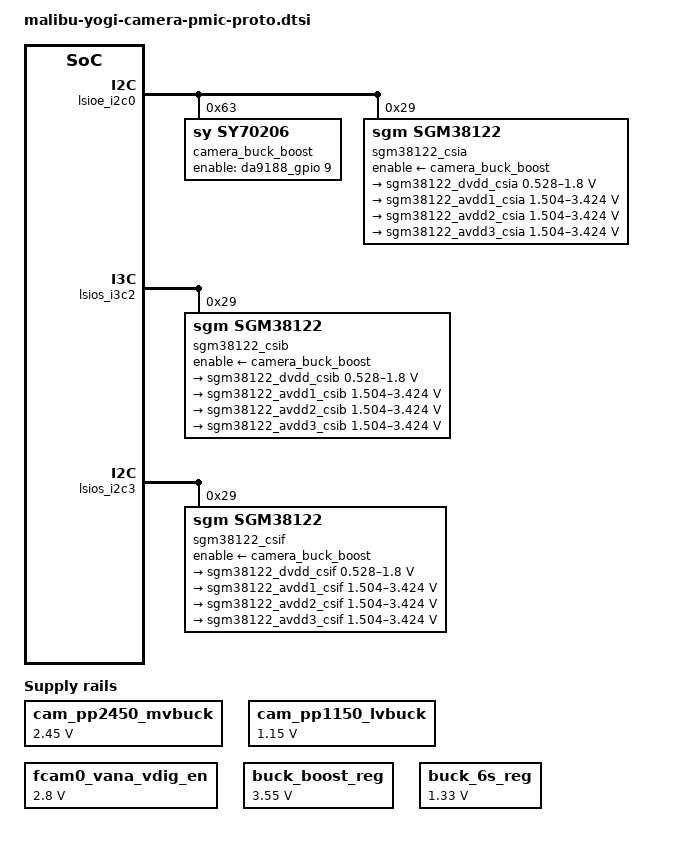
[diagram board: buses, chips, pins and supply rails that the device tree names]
// SPDX-License-Identifier: GPL-2.0-only
/*
 * camera PMIC device tree for MBU device
 *
 * Copyright 2025 Google LLC.
 *
 */

&ldo_22s_reg {
	/* b/418913720 - go/regulator-circular-dep */
	/* Workaround to avoid I2C issue when controller resume and suspend
	   outside of camera usage. */
	regulator-always-on;
};

/ {
	fragment@cam_supply {
		target-path = "/";
		__overlay__ {
			/* SN62088AYFPR */
			cam_pp2450_mvbuck: rcam_supply@0 {
				compatible = "regulator-fixed";
				status = "okay";
				regulator-name = "PP2450_CAM";
				regulator-min-microvolt = <2450000>;
				regulator-max-microvolt = <2450000>;
				/* 1.25ms */
				regulator-enable-ramp-delay = <1250>;
				enable-active-high;
				/* MVBUCK_EN */
				gpio = <PMICS2CAM_MVBUCK_EN(GPIO_ACTIVE_HIGH)>;
			};

			/* MAX77324GEWTAD+T */
			cam_pp1150_lvbuck: rcam_supply@1 {
				compatible = "regulator-fixed";
				status = "okay";
				regulator-name = "PP1150_CAM";
				regulator-min-microvolt = <1150000>;
				regulator-max-microvolt = <1150000>;
				/* 1ms */
				regulator-enable-ramp-delay = <1000>;
				enable-active-high;
				/* VDIG_EN */
				gpio = <PMICM2RCAM_VDIG_EN(GPIO_ACTIVE_HIGH)>;
			};

			/* TPS7A2028PDQNR */
			fcam0_vana_vdig_en: fcam0_supply@0 {
				compatible = "regulator-fixed";
				status = "okay";
				regulator-name = "FCAM0_VANA_VDIG_EN";
				regulator-min-microvolt = <2800000>;
				regulator-max-microvolt = <2800000>;
				/* 1.15ms */
				regulator-enable-ramp-delay = <1150>;
				enable-active-high;
				/* FCAM0_VANA_VDIG_EN */
				gpio = <PMICS2FCAM0_VANA_VDIG_EN(GPIO_ACTIVE_HIGH)>;
			};
		};
	};
};

&buck_boost_reg {
	regulator-min-microvolt = <3550000>;
	regulator-max-microvolt = <3550000>;
};
&buck_6s_reg {
	regulator-min-microvolt = <1330000>;
	regulator-max-microvolt = <1330000>;
};

&lsioe_i2c0 {
	camera_buck_boost: sy70206@63 {
		compatible = "sy,sy70206";
		reg = <0x63>;
		enable-gpios = <&da9188_gpio 9 GPIO_ACTIVE_HIGH>;
		status = "ok";
		regulator-name = "sy70206-regulator";
		regulator-min-microvolt = <3200000>;
		regulator-max-microvolt = <3200000>;
		regulator-always-on;
		/* REGULATOR_MODE_NORMAL (auto) */
		regulator-initial-mode = <0x2>;
		/* Allow for NORMAL (auto) and FAST (FPWM) mode */
		regulator-allowed-modes = <0x2>, <0x1>;
		google,disable-auto-headroom;
	};

	sgm38122_csia: sgm38122@29 {
		compatible = "sgm,sgm38122";
		reg = <0x29>;
		enable-supply = <&camera_buck_boost>;
		status = "ok";

		regulators {
			sgm38122_dvdd_csia: dvdd {
				regulator-name = "dvdd";
				regulator-min-microvolt = <528000>;
				regulator-max-microvolt = <1800000>;
				in1-supply = <&cam_pp1150_lvbuck>;
			};

			sgm38122_avdd1_csia: avdd1 {
				regulator-name = "avdd1";
				regulator-min-microvolt = <1504000>;
				regulator-max-microvolt = <3424000>;
				in2-supply = <&camera_buck_boost>;
			};

			sgm38122_avdd2_csia: avdd2 {
				regulator-name = "avdd2";
				regulator-min-microvolt = <1504000>;
				regulator-max-microvolt = <3424000>;
				in2-supply = <&camera_buck_boost>;
			};

			sgm38122_avdd3_csia: avdd3 {
				regulator-name = "avdd3";
				regulator-min-microvolt = <1504000>;
				regulator-max-microvolt = <3424000>;
				in3-supply = <&cam_pp2450_mvbuck>;
			};
		};
	};
};

&lsios_i3c2 {

	sgm38122_csib: sgm38122@29 {
		compatible = "sgm,sgm38122";
		reg = <0x29 0x0 0x00>;
		enable-supply = <&camera_buck_boost>;
		status = "ok";

		regulators {
			sgm38122_dvdd_csib: dvdd {
				regulator-name = "dvdd";
				regulator-min-microvolt = <528000>;
				regulator-max-microvolt = <1800000>;
				in1-supply = <&cam_pp1150_lvbuck>;
			};

			sgm38122_avdd1_csib: avdd1 {
				regulator-name = "avdd1";
				regulator-min-microvolt = <1504000>;
				regulator-max-microvolt = <3424000>;
				in2-supply = <&buck_boost_reg>;
			};

			sgm38122_avdd2_csib: avdd2 {
				regulator-name = "avdd2";
				regulator-min-microvolt = <1504000>;
				regulator-max-microvolt = <3424000>;
				in2-supply = <&buck_boost_reg>;
			};

			sgm38122_avdd3_csib: avdd3 {
				regulator-name = "avdd3";
				regulator-min-microvolt = <1504000>;
				regulator-max-microvolt = <3424000>;
				in3-supply = <&cam_pp2450_mvbuck>;
			};
		};
	};
};

&lsios_i2c3 {

	sgm38122_csif: sgm38122@29 {
		compatible = "sgm,sgm38122";
		reg = <0x29>;
		enable-supply = <&camera_buck_boost>;
		status = "ok";

		regulators {
			sgm38122_dvdd_csif: dvdd {
				regulator-name = "dvdd";
				regulator-min-microvolt = <528000>;
				regulator-max-microvolt = <1800000>;
				in1-supply = <&buck_6s_reg>;
			};

			sgm38122_avdd1_csif: avdd1 {
				regulator-name = "avdd1";
				regulator-min-microvolt = <1504000>;
				regulator-max-microvolt = <3424000>;
				in2-supply = <&camera_buck_boost>;
			};

			sgm38122_avdd2_csif: avdd2 {
				regulator-name = "avdd2";
				regulator-min-microvolt = <1504000>;
				regulator-max-microvolt = <3424000>;
				in2-supply = <&camera_buck_boost>;
			};

			sgm38122_avdd3_csif: avdd3 {
				regulator-name = "avdd3";
				regulator-min-microvolt = <1504000>;
				regulator-max-microvolt = <3424000>;
				in3-supply = <&camera_buck_boost>;
			};
		};
	};
};
